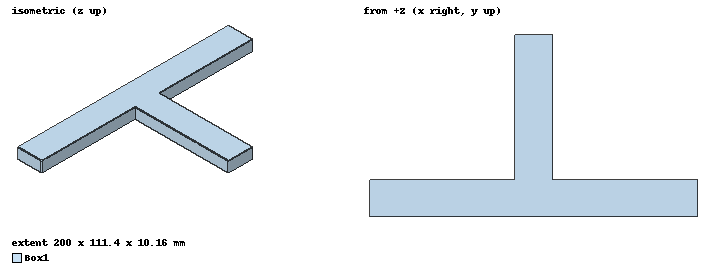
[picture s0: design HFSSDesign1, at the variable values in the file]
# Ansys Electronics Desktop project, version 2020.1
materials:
  vacuum: permittivity=1

design HFSSDesign1 (HFSS, DrivenModal, model units mm)
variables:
  a = 22.86mm
  b = 10.16mm
  l = 100mm
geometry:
  Box1 [vacuum] = box(corner=(-a/2, 0mm, -b/2), size=(a, l, b))
  Box1_1 = Box1.duplicate_around_axis(axis=Z, angle=90deg, total=2)
  Box1_2 = Box1.duplicate_around_axis(axis=Z, angle=-90deg, total=2)
  Box1.unite(Box1_1, Box1_2)
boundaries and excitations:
  PerfE1: Perfect E Faces=Box1.face(+z, 4 of 6, +x, 6 of 6, -x, -z, 4 of 6)
  1: Wave Port Faces=Box1.face(5 of 6) NumModes=1 Modes{Mode1{IntLine{middle of Box1.edge(8 of 12) -> middle of Box1.edge(2 of 12)} CharImp=Zpi}}
  2: Wave Port Faces=Box1.face(+y) NumModes=1 Modes{Mode1{IntLine{middle of Box1.edge(8 of 12) -> middle of Box1.edge(2 of 12)} CharImp=Zpi}}
  3: Wave Port Faces=Box1.face(5 of 6) NumModes=1 Modes{Mode1{IntLine{middle of Box1.edge(2 of 12) -> middle of Box1.edge(8 of 12)} CharImp=Zpi}}
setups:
  Setup1: HfssDriven Frequency=6.56GHz MaxDeltaS=0.02 MaximumPasses=20 MinimumPasses=1 MinimumConvergedPasses=1 PercentRefinement=30 BasisOrder=1 PortAccuracy=2
    sweep Sweep: 3.28GHz to 9.84GHz, 401 points; Type=Interpolating InterpTolerance=0.5 InterpMaxSolns=250 InterpUsePortImped=false PassivityErrorTolerance=0.0001
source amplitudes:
  1:1: 1W 0deg
  2:1, 3:1: 0W 0deg
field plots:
  Mag_E1: E Field in Box1 on Setup1 : LastAdaptive at Freq=6.56GHz Phase=0deg
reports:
  S Parameter Plot 1: mag(S(1,1)), mag(S(2,1)), mag(S(3,1)), mag(S(1,2)), mag(S(2,2)), mag(S(3,2)), mag(S(1,3)), mag(S(2,3)), mag(S(3,3)) vs Freq on Setup1 : Sweep; markers m1 at 6.56GHz
  S Parameter Table 1: mag(S(1,1)), ang_deg(S(1,1)), mag(S(2,1)), ang_deg(S(2,1)), mag(S(3,1)), ang_deg(S(3,1)), mag(S(1,2)), ang_deg(S(1,2)), mag(S(2,2)), ang_deg(S(2,2)), mag(S(3,2)), ang_deg(S(3,2)), mag(S(1,3)), ang_deg(S(1,3)), mag(S(2,3)), ang_deg(S(2,3)), mag(S(3,3)), ang_deg(S(3,3)) vs Freq on Setup1 : Sweep [Freq=6.56GHz]
